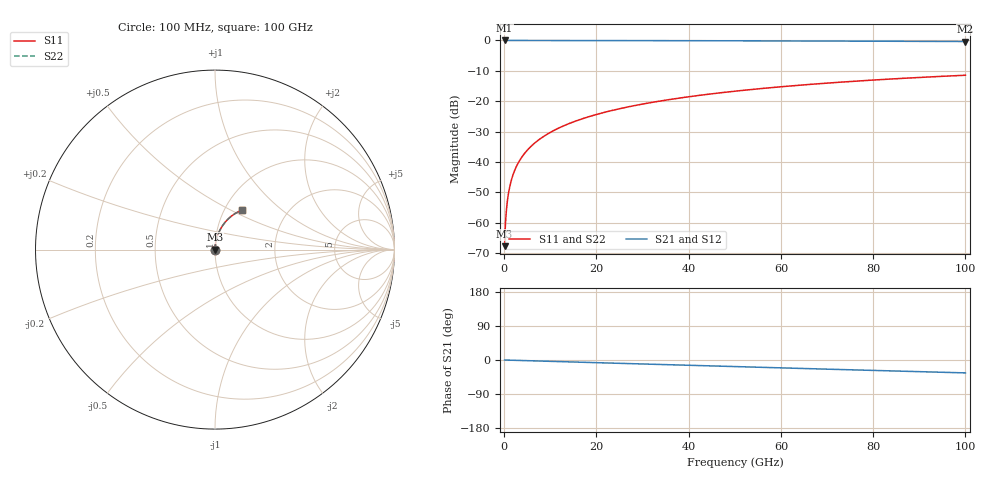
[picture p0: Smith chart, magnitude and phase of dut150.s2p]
! Touchstone file exported from HFSS 2026.1.0
!  File:  C:/ffzhzh/LocalFiles/Ansys_Project_Files/temp_train_TSV_150_1783506599_44152.aedt
!  Generated:  06:31:25 PM Jul  8, 2026
!  Design:  TSV
!  Project:  temp_train_TSV_150_1783506599_44152
! Variables:
!  h_bsmrdl = 2um
!  h_ox = 20um
!  h_rdl = 5um
!  h_sub = 54.89um
!  h_tmrdl = 5um
!  h_tsv = 54.89um
!  h_via = 3um
!  l_bsmrdl = 300um
!  l_sub = 411.2um
!  l_tmrdl = 200um
!  m_sub = 200um
!  pitch = 47.71um
!  r_tsv = 5.6um
!  s_tmrdl = 10um
!  w_bsmrdl = 18um
!  w_sub = 500um
!  w_tmrdl = 12um
!  x_tsv_center1 = 206um
!  x_tsv_center2 = 524um
!  x_tsv_center3 = 736um
!  x_tsv_center4 = 1054um
!  x_tsv_center5 = 1266um
!  x_tsv_center6 = 1584um
# GHz S MA R 50.000000
! Terminal data exported
! Port[1] = TSV1_1_T1
! Port[2] = TSV1_1_T2
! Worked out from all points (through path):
!   1000 points, 100 MHz to 100 GHz, reference 50 ohm
!   highest |S21| = 0.00 dB at 100 MHz (marker M1); lowest = -0.3 dB at 100 GHz (marker M2)
!   group delay of S21, straight-line fit = 946 fs
!   lowest |S11| = -67.7 dB at 100 MHz (marker M3), VSWR 1.00, Z = 50 + j0.0336 ohm
!   |S11| at or under -10 dB: start of sweep to end of sweep
!   |S22| runs from -67.7 to -11.5 dB; largest |S21 - S12| = 2.2e-15
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0.1  0.00041 55.0  0.9998 -0.0  0.9998 -0.0  0.00041 55.0
! Gamma 0 0 0 0
! Port Impedance 50 0 50 0
0.4  0.001325 78.4  0.9997 -0.1  0.9997 -0.1  0.001325 78.4
0.7  0.002273 82.7  0.9997 -0.3  0.9997 -0.3  0.002273 82.7
0.8  0.00259 83.3  0.9997 -0.3  0.9997 -0.3  0.00259 83.3
1  0.003224 84.2  0.9997 -0.4  0.9997 -0.4  0.003224 84.2
1.3  0.004174 85.0  0.9997 -0.5  0.9997 -0.5  0.004174 85.0
1.7  0.005433 85.5  0.9996 -0.6  0.9996 -0.6  0.005433 85.5
2.3  0.007305 85.7  0.9995 -0.8  0.9995 -0.8  0.007305 85.7
3  0.009464 85.8  0.9994 -1.1  0.9994 -1.1  0.009464 85.8
3.8  0.01191 85.8  0.9993 -1.4  0.9993 -1.4  0.01191 85.8
4.8  0.01495 85.7  0.9992 -1.7  0.9992 -1.7  0.01495 85.7
6  0.01857 85.5  0.9991 -2.1  0.9991 -2.1  0.01857 85.5
8.8  0.02701 84.9  0.9987 -3.1  0.9987 -3.1  0.02701 84.9
12.4  0.0378 83.9  0.9982 -4.4  0.9982 -4.4  0.0378 83.9
16.8  0.05091 82.6  0.9974 -5.9  0.9974 -5.9  0.05091 82.6
24.2  0.07274 80.3  0.9958 -8.5  0.9958 -8.5  0.07274 80.3
33.4  0.09943 77.3  0.9932 -11.7  0.9932 -11.7  0.09943 77.3
41.2  0.1216 74.7  0.9906 -14.4  0.9906 -14.4  0.1216 74.7
50.1  0.1462 71.7  0.9871 -17.4  0.9871 -17.4  0.1462 71.7
66.7  0.19 66.2  0.9793 -23.1  0.9793 -23.1  0.19 66.2
83.4  0.2308 60.7  0.9703 -28.6  0.9703 -28.6  0.2308 60.7
100  0.2675 55.4  0.9606 -34.0  0.9606 -34.0  0.2675 55.4
